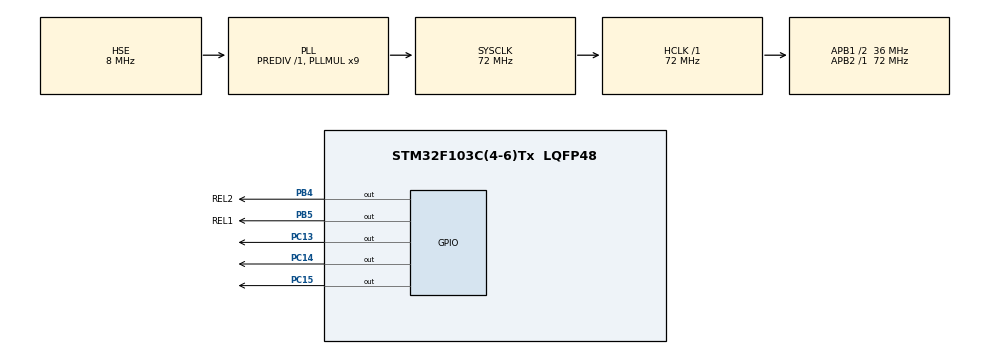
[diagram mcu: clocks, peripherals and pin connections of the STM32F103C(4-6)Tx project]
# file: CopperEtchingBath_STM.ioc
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Mcu.Family=STM32F1
Mcu.Name=STM32F103C(4-6)Tx
Mcu.Package=LQFP48
NVIC.PriorityGroup=NVIC_PRIORITYGROUP_4
PA13.Mode=Serial_Wire
PA13.Signal=SYS_JTMS-SWDIO
PA14.Mode=Serial_Wire
PA14.Signal=SYS_JTCK-SWCLK
PB4.GPIO_Label=REL2
PB4.GPIO_PuPd=GPIO_PULLDOWN
PB4.PinState=GPIO_PIN_RESET
PB4.Signal=GPIO_Output
PB5.GPIO_Label=REL1
PB5.GPIO_PuPd=GPIO_PULLDOWN
PB5.PinState=GPIO_PIN_RESET
PB5.Signal=GPIO_Output
PC13-TAMPER-RTC.Signal=GPIO_Output
PC14-OSC32_IN.Signal=GPIO_Output
PC15-OSC32_OUT.Signal=GPIO_Output
PD0-OSC_IN.Mode=HSE-External-Oscillator
PD0-OSC_IN.Signal=RCC_OSC_IN
PD1-OSC_OUT.Mode=HSE-External-Oscillator
PD1-OSC_OUT.Signal=RCC_OSC_OUT
ProjectManager.HeapSize=0x200
ProjectManager.StackSize=0x400
ProjectManager.TargetToolchain=STM32CubeIDE
RCC.AHBFreq_Value=72000000
RCC.APB1CLKDivider=RCC_HCLK_DIV2
RCC.APB1Freq_Value=36000000
RCC.APB1TimFreq_Value=72000000
RCC.APB2Freq_Value=72000000
RCC.APB2TimFreq_Value=72000000
RCC.HCLKFreq_Value=72000000
RCC.PLLMUL=RCC_PLL_MUL9
RCC.PLLSourceVirtual=RCC_PLLSOURCE_HSE
RCC.SYSCLKFreq_VALUE=72000000
RCC.SYSCLKSource=RCC_SYSCLKSOURCE_PLLCLK
RCC.USBFreq_Value=72000000
board=custom

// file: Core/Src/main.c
/* USER CODE BEGIN Header */
/**
  ******************************************************************************
  * @file           : main.c
  * @brief          : Main program body
  ******************************************************************************
  * @attention
  *
  * Copyright (c) 2025 STMicroelectronics.
  * All rights reserved.
  *
  * This software is licensed under terms that can be found in the LICENSE file
  * in the root directory of this software component.
  * If no LICENSE file comes with this software, it is provided AS-IS.
  *
  ******************************************************************************
  */
/* USER CODE END Header */
#include "main.h"

void SystemClock_Config(void);
static void MX_GPIO_Init(void);

int main(void)
{

  /* MCU Configuration--------------------------------------------------------*/

  /* Reset of all peripherals, Initializes the Flash interface and the Systick. */
  HAL_Init();

  /* Configure the system clock */
  SystemClock_Config();

  /* Initialize all configured peripherals */
  MX_GPIO_Init();

  /* Infinite loop */
  /* USER CODE BEGIN WHILE */
  while (1)
  {

	  HAL_GPIO_WritePin(GPIOC, GPIO_PIN_13, GPIO_PIN_SET);
	  HAL_GPIO_WritePin(GPIOC, GPIO_PIN_14, GPIO_PIN_RESET);
	  HAL_GPIO_WritePin(GPIOC, GPIO_PIN_15, GPIO_PIN_RESET);

	  HAL_GPIO_WritePin(GPIOB, GPIO_PIN_4, GPIO_PIN_SET);
	  HAL_GPIO_WritePin(GPIOB, GPIO_PIN_5, GPIO_PIN_RESET);
	  HAL_Delay(500);

	  HAL_GPIO_WritePin(GPIOC, GPIO_PIN_13, GPIO_PIN_RESET);
	  HAL_GPIO_WritePin(GPIOC, GPIO_PIN_14, GPIO_PIN_SET);
	  HAL_GPIO_WritePin(GPIOC, GPIO_PIN_15, GPIO_PIN_RESET);

	  HAL_GPIO_WritePin(GPIOB, GPIO_PIN_4, GPIO_PIN_RESET);
	  HAL_GPIO_WritePin(GPIOB, GPIO_PIN_5, GPIO_PIN_SET);
	  HAL_Delay(500);

	  HAL_GPIO_WritePin(GPIOC, GPIO_PIN_13, GPIO_PIN_RESET);
	  HAL_GPIO_WritePin(GPIOC, GPIO_PIN_14, GPIO_PIN_RESET);
	  HAL_GPIO_WritePin(GPIOC, GPIO_PIN_15, GPIO_PIN_SET);

	  HAL_GPIO_WritePin(GPIOB, GPIO_PIN_4, GPIO_PIN_SET);
	  HAL_GPIO_WritePin(GPIOB, GPIO_PIN_5, GPIO_PIN_SET);
	  HAL_Delay(500);

    /* USER CODE END WHILE */

  }
}

void SystemClock_Config(void)
{
  RCC_OscInitTypeDef RCC_OscInitStruct = {0};
  RCC_ClkInitTypeDef RCC_ClkInitStruct = {0};

  /** Initializes the RCC Oscillators according to the specified parameters
  * in the RCC_OscInitTypeDef structure.
  */
  RCC_OscInitStruct.OscillatorType = RCC_OSCILLATORTYPE_HSE;
  RCC_OscInitStruct.HSEState = RCC_HSE_ON;
  RCC_OscInitStruct.HSEPredivValue = RCC_HSE_PREDIV_DIV1;
  RCC_OscInitStruct.HSIState = RCC_HSI_ON;
  RCC_OscInitStruct.PLL.PLLState = RCC_PLL_ON;
  RCC_OscInitStruct.PLL.PLLSource = RCC_PLLSOURCE_HSE;
  RCC_OscInitStruct.PLL.PLLMUL = RCC_PLL_MUL9;
  if (HAL_RCC_OscConfig(&RCC_OscInitStruct) != HAL_OK)
  {
    Error_Handler();
  }

  /** Initializes the CPU, AHB and APB buses clocks
  */
  RCC_ClkInitStruct.ClockType = RCC_CLOCKTYPE_HCLK|RCC_CLOCKTYPE_SYSCLK
                              |RCC_CLOCKTYPE_PCLK1|RCC_CLOCKTYPE_PCLK2;
  RCC_ClkInitStruct.SYSCLKSource = RCC_SYSCLKSOURCE_PLLCLK;
  RCC_ClkInitStruct.AHBCLKDivider = RCC_SYSCLK_DIV1;
  RCC_ClkInitStruct.APB1CLKDivider = RCC_HCLK_DIV2;
  RCC_ClkInitStruct.APB2CLKDivider = RCC_HCLK_DIV1;

  if (HAL_RCC_ClockConfig(&RCC_ClkInitStruct, FLASH_LATENCY_2) != HAL_OK)
  {
    Error_Handler();
  }
}

static void MX_GPIO_Init(void)
{
  GPIO_InitTypeDef GPIO_InitStruct = {0};

  /* GPIO Ports Clock Enable */
  __HAL_RCC_GPIOC_CLK_ENABLE();
  __HAL_RCC_GPIOD_CLK_ENABLE();
  __HAL_RCC_GPIOA_CLK_ENABLE();
  __HAL_RCC_GPIOB_CLK_ENABLE();

  /*Configure GPIO pin Output Level */
  HAL_GPIO_WritePin(GPIOC, GPIO_PIN_13|GPIO_PIN_14|GPIO_PIN_15, GPIO_PIN_RESET);

  /*Configure GPIO pin Output Level */
  HAL_GPIO_WritePin(GPIOB, REL2_Pin|REL1_Pin, GPIO_PIN_RESET);

  /*Configure GPIO pins : PC13 PC14 PC15 */
  GPIO_InitStruct.Pin = GPIO_PIN_13|GPIO_PIN_14|GPIO_PIN_15;
  GPIO_InitStruct.Mode = GPIO_MODE_OUTPUT_PP;
  GPIO_InitStruct.Pull = GPIO_NOPULL;
  GPIO_InitStruct.Speed = GPIO_SPEED_FREQ_LOW;
  HAL_GPIO_Init(GPIOC, &GPIO_InitStruct);

  /*Configure GPIO pins : REL2_Pin REL1_Pin */
  GPIO_InitStruct.Pin = REL2_Pin|REL1_Pin;
  GPIO_InitStruct.Mode = GPIO_MODE_OUTPUT_PP;
  GPIO_InitStruct.Pull = GPIO_PULLDOWN;
  GPIO_InitStruct.Speed = GPIO_SPEED_FREQ_LOW;
  HAL_GPIO_Init(GPIOB, &GPIO_InitStruct);

}

void Error_Handler(void)
{
  __disable_irq();
  while (1)
  {
  }
}
